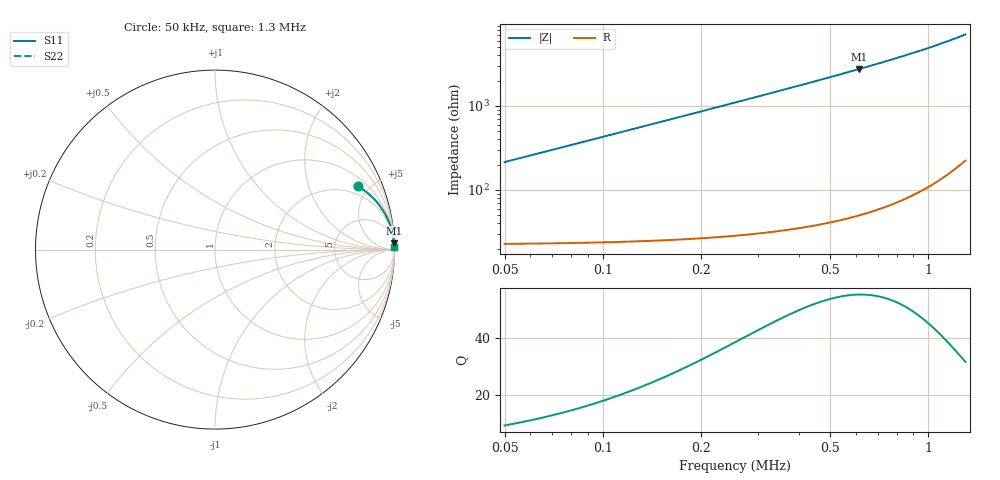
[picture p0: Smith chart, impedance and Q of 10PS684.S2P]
! Coilcraft 1008PS-684 Power Chip Inductor
! 7 October 2002
# MHZ S MA R 50
!Freq  MagS11  AngS11  MagS21  AngS21  MagS12  AngS12  MagS22  AngS22
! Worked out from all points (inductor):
!   402 points, 50 kHz to 1.3 MHz, reference 50 ohm
!   read as one part in series: L = 681 uH near 56.24 kHz
!   highest Q = 55.3 at 614.7 kHz (marker M1), where L = 715 uH
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0.05  0.872 23.8  0.4058 -60.1  0.4058 -60.1  0.872 23.8
0.05624  0.8944 21.6  0.3704 -62.9  0.3704 -62.9  0.8944 21.6
0.06872  0.9252 18.2  0.3139 -67.3  0.3139 -67.3  0.9252 18.2
0.08432  0.9481 15.2  0.2624 -71.1  0.2624 -71.1  0.9481 15.2
0.0968  0.9597 13.4  0.2314 -73.4  0.2314 -73.4  0.9597 13.4
0.10928  0.9679 11.9  0.2067 -75.2  0.2067 -75.2  0.9679 11.9
0.13424  0.9782 9.8  0.17 -77.8  0.17 -77.8  0.9782 9.8
0.16232  0.9848 8.1  0.1414 -79.8  0.1414 -79.8  0.9848 8.1
0.1904  0.9888 6.9  0.1209 -81.2  0.1209 -81.2  0.9888 6.9
0.2216  0.9916 6.0  0.104 -82.4  0.104 -82.4  0.9916 6.0
0.25904  0.9938 5.1  0.08898 -83.4  0.08898 -83.4  0.9938 5.1
0.30272  0.9953 4.4  0.07602 -84.3  0.07602 -84.3  0.9953 4.4
0.35264  0.9965 3.7  0.06506 -85.0  0.06506 -85.0  0.9965 3.7
0.4088  0.9973 3.2  0.05585 -85.7  0.05585 -85.7  0.9973 3.2
0.46808  0.9979 2.8  0.04847 -86.1  0.04847 -86.1  0.9979 2.8
0.53672  0.9984 2.4  0.0419 -86.6  0.0419 -86.6  0.9984 2.4
0.61472  0.9987 2.1  0.03616 -86.9  0.03616 -86.9  0.9987 2.1
0.67712  0.9989 1.9  0.03247 -87.1  0.03247 -87.1  0.9989 1.9
0.77696  0.9991 1.6  0.02774 -87.3  0.02774 -87.3  0.9991 1.6
0.88616  0.9992 1.4  0.0237 -87.5  0.0237 -87.5  0.9992 1.4
1.09208  0.9994 1.0  0.01811 -87.6  0.01811 -87.6  0.9994 1.0
1.3  0.9995 0.8  0.01406 -87.4  0.01406 -87.4  0.9995 0.8
